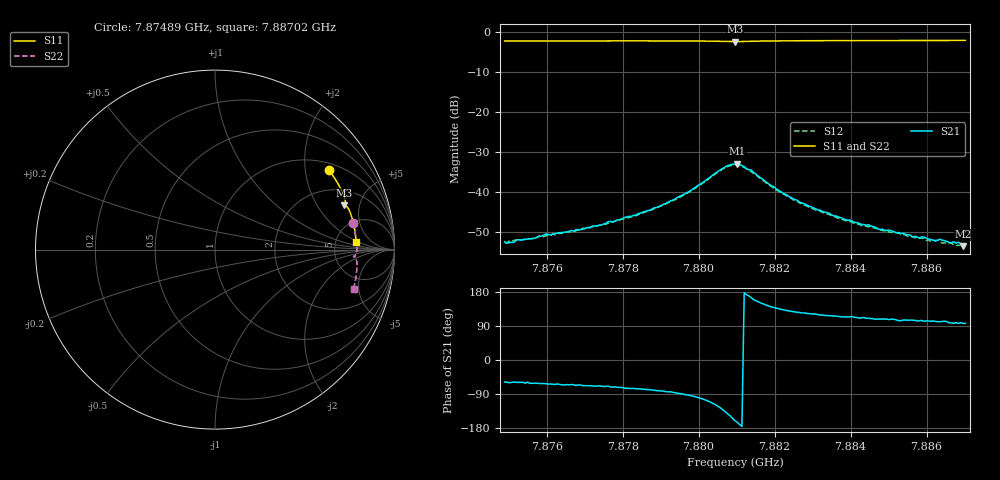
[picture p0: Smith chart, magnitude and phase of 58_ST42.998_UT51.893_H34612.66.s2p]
#  HZ  S  DB  R  50.00
! Rohde & Schwarz Vector Network Analyzer
! Rohde-Schwarz,ZNB20-2Port,1311601062101988,3.16
! Created: UTC 1/12/2023, 6:33:27 PM
! freq[Hz]  db:S11  ang:S11  db:S21  ang:S21  db:S12  ang:S12  db:S22  ang:S22
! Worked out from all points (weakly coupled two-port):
!   201 points, 7.87489 GHz to 7.88702 GHz, reference 50 ohm
!   highest |S21| = -32.92 dB at 7.88102 GHz (marker M1); lowest = -53.6 dB at 7.88696 GHz (marker M2)
!   lowest |S11| = -2.4 dB at 7.88096 GHz (marker M3), VSWR 7.39, Z = 152 + j178 ohm
!   |S11| at or under -10 dB: nowhere
!   |S22| runs from -2.2 to -1.9 dB; largest |S21 - S12| = 0.0019
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7.874893e9  -2.22 34.9  -52.44 -58.1  -52.76 -61.0  -2.13 10.8
7.875136e9  -2.22 34.2  -52.64 -57.8  -52.13 -62.3  -2.14 10.2
7.875985e9  -2.21 31.9  -50.51 -62.4  -50.92 -65.8  -2.10 8.2
7.876955e9  -2.19 29.2  -49.28 -67.7  -49.06 -70.4  -2.08 6.0
7.877259e9  -2.19 28.4  -48.51 -69.0  -48.88 -72.0  -2.07 5.2
7.87835e9  -2.18 25.4  -45.81 -75.6  -45.97 -79.1  -2.05 2.7
7.878957e9  -2.17 23.7  -43.64 -80.9  -43.70 -84.2  -2.05 1.2
7.879745e9  -2.19 21.4  -39.91 -92.9  -40.08 -96.4  -2.06 -0.7
7.880716e9  -2.34 18.9  -33.64 -137.4  -33.86 -140.6  -2.20 -2.8
7.880958e9  -2.37 18.8  -33.03 -160.3  -33.18 -162.8  -2.24 -2.8
7.881019e9  -2.36 18.8  -32.92 -164.5  -33.26 -168.7  -2.24 -2.8
7.881383e9  -2.29 18.5  -34.48 165.0  -34.92 161.1  -2.16 -3.0
7.882232e9  -2.16 16.1  -40.34 132.7  -40.51 129.0  -2.02 -4.9
7.883021e9  -2.12 13.9  -43.97 121.2  -44.22 118.0  -1.98 -6.8
7.884294e9  -2.10 10.5  -48.16 111.7  -48.41 109.5  -1.95 -9.7
7.885022e9  -2.09 8.5  -49.53 106.6  -50.06 104.2  -1.94 -11.3
7.885993e9  -2.08 6.0  -51.56 103.2  -52.17 99.9  -1.93 -13.4
7.886235e9  -2.08 5.3  -52.30 101.7  -52.13 99.3  -1.93 -13.9
7.886357e9  -2.08 5.0  -51.80 101.0  -52.56 97.0  -1.92 -14.2
7.886842e9  -2.08 3.7  -52.59 96.5  -53.34 97.0  -1.92 -15.3
7.886963e9  -2.08 3.4  -53.57 96.4  -53.49 95.8  -1.92 -15.5
7.887024e9  -2.07 3.3  -53.26 96.6  -53.50 94.8  -1.91 -15.7
